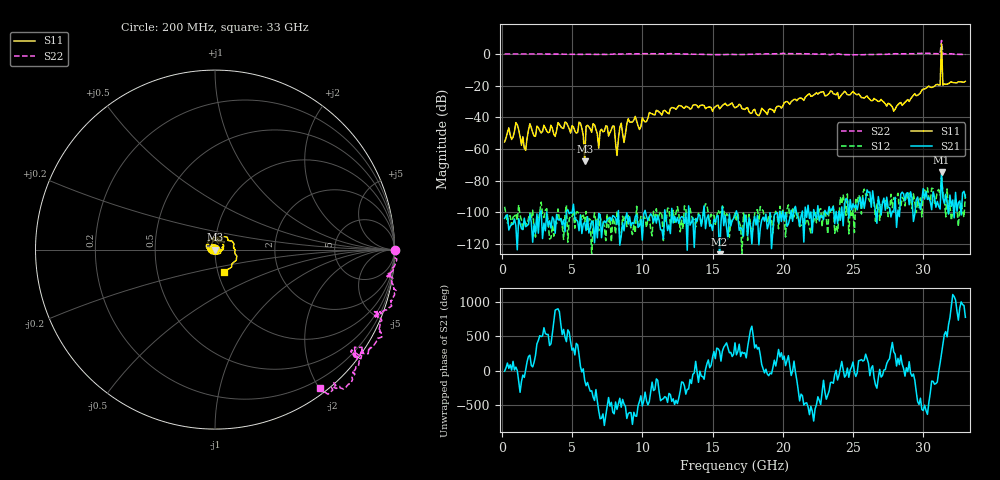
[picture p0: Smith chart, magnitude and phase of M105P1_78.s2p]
# GHZ S RI R 50
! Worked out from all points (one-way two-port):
!   329 points, 200 MHz to 33 GHz, reference 50 ohm
!   highest |S21| = -74.71 dB at 31.3 GHz (marker M1); lowest = -129.3 dB at 15.5 GHz (marker M2)
!   lowest |S11| = -67.9 dB at 5.9 GHz (marker M3), VSWR 1.00, Z = 50 + j0.0402 ohm
!   |S11| at or under -10 dB: start of sweep to 31.24 GHz; 31.36 GHz to end of sweep
!   |S22| runs from -0.5 to 8.6 dB; largest |S21 - S12| = 0.00025
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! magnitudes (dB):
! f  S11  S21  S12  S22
! 200 MHz  -55.6  -103.9  -96.5  0.0
! 1 GHz  -43.3  -108.4  -100.8  0.1
! 1.7 GHz  -60.8  -109.1  -106.9  0.0
! 2 GHz  -44.0  -101.3  -100.4  0.1
! 5.7 GHz  -47.0  -113.4  -104.6  -0.2
! 5.9 GHz  -67.9  -106.4  -106.2  -0.2
! 6.1 GHz  -45.0  -102.8  -111.9  -0.1
! 6.9 GHz  -59.4  -100.7  -111.7  -0.2
! 8 GHz  -45.7  -102.6  -106.4  0.0
! 8.2 GHz  -64.1  -107.6  -98.9  0.0
! 8.5 GHz  -43.6  -115.0  -114.9  0.0
! 8.7 GHz  -55.9  -111.7  -105.8  0.0
! 9 GHz  -40.8  -107.5  -101.9  0.1
! 11.2 GHz  -36.6  -105.1  -101.8  0.2
! 15.5 GHz  -34.6  -129.3  -100.5  -0.4
! 16.6 GHz  -34.0  -102.2  -100.0  -0.3
! 22.1 GHz  -26.6  -113.0  -106.0  0.1
! 27.6 GHz  -31.5  -97.1  -100.6  0.0
! 31.2 GHz  -19.6  -98.0  -89.3  0.1
! 31.3 GHz  6.4  -74.7  -78.0  8.6
! 31.4 GHz  -19.6  -90.9  -87.2  -0.1
! 33 GHz  -17.3  -90.5  -88.5  -0.3
